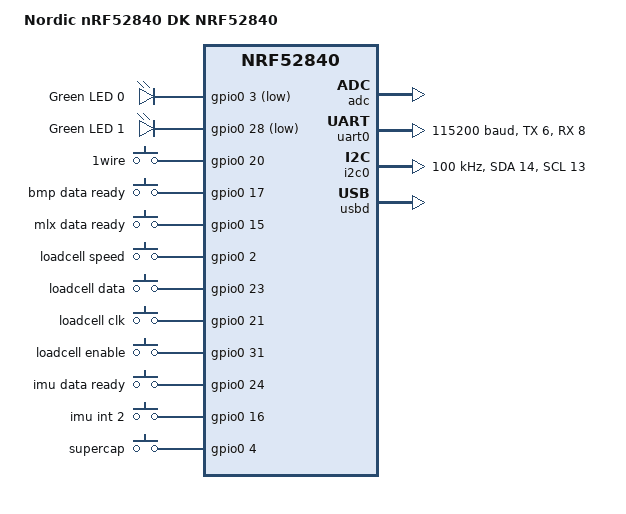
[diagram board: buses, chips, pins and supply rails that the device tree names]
/*
 * Copyright (c) 2017 Linaro Limited
 *
 * SPDX-License-Identifier: Apache-2.0
 */

 /dts-v1/;
 #include <nordic/nrf52840_qiaa.dtsi>
 
 / {
	 model = "Nordic nRF52840 DK NRF52840";
	 compatible = "nordic,nrf52840-dk-nrf52840";
 
	 chosen {
		 zephyr,console = &uart0;
		 zephyr,shell-uart = &uart0;
		 zephyr,uart-mcumgr = &uart0;
		 zephyr,bt-mon-uart = &uart0;
		 zephyr,bt-c2h-uart = &uart0;
		 zephyr,sram = &sram0;
		 zephyr,flash = &flash0;
		 zephyr,code-partition = &slot0_partition;
	 };
 
	 leds {
		 compatible = "gpio-leds";
		 led0: led_0 {
			 gpios = <&gpio0 3 GPIO_ACTIVE_LOW>;
			 label = "Green LED 0";
		 };
		 led1: led_1 {
			 gpios = <&gpio0 28 GPIO_ACTIVE_LOW>;
			 label = "Green LED 1";
		 };
	 };
 
 
	 buttons {
		 compatible = "gpio-keys";
		 button0: button_0 {	//20 1wire 
			 gpios = <&gpio0 20 (GPIO_ACTIVE_HIGH)>;
			 label = "1wire";
		 };
		 button1: button_1 { // 17 bmp
			 gpios = <&gpio0 17 (GPIO_ACTIVE_HIGH)>;
			 label = "bmp data ready";
		 };
		 button2: button_2 {
			 gpios = <&gpio0 15 (GPIO_ACTIVE_HIGH)>;
			 label = "mlx data ready";
		 };
		 button3: button_3 {
			 gpios = <&gpio0 2 (GPIO_ACTIVE_HIGH)>;
			 label = "loadcell speed";
		 };
		 button4: button_4 {
			 gpios = <&gpio0 23 (GPIO_ACTIVE_HIGH)>;
			 label = "loadcell data";
		 };
		 button5: button_5 {
			 gpios = <&gpio0 21 (GPIO_ACTIVE_HIGH)>;
			 label = "loadcell clk";
		 };
		 button6: button_6 {
			 gpios = <&gpio0 31 (GPIO_ACTIVE_HIGH)>;
			 label = "loadcell enable";
		 };
		 button7: button_7 {
			 gpios = <&gpio0 24 (GPIO_ACTIVE_HIGH)>;
			 label = "imu data ready";
		 };
		 button8: button_8 {
			 gpios = <&gpio0 16 (GPIO_ACTIVE_HIGH)>;
			 label = "imu int 2";
		 };
		 button9: button_9 {
			 gpios = <&gpio0 4 (GPIO_ACTIVE_HIGH)>;
			 label = "supercap";
		 };				
	 };
 
	 /* These aliases are provided for compatibility with samples */
	 /*
	 aliases {
		 led-blue = &led0;
		 led-red = &led1;
		 one-wire = &button0;
		 bmp-data-ready = &button1;
		 mlx-data-ready = &button2;
		 lc-speed = &button3;
		 lc-data = &button4;
		 lc-clk = &button5;
		 lc-enable = &button6;
		 imu-dr = &button7;
		 imu-int = &button8;
		 usbd0 = &usbd;
	 };
	 */
 };
 
 &adc {
	 status = "okay";
 };
 
 &gpiote {
	 status = "okay";
 };
 
 &gpio0 {
	 status = "okay";
 };
 
 &gpio1 {
	 status = "okay";
 };
 
 &uart0 {
	 compatible = "nordic,nrf-uarte";
	 status = "okay";
	 current-speed = <115200>;
	 tx-pin = <6>;
	 rx-pin = <8>;
	 rts-pin = <5>;
	 cts-pin = <7>;
 };
 
 myi2c: &i2c0 {
	 compatible = "nordic,nrf-twi";
	 status = "okay";
	 sda-pin = <14>;
	 scl-pin = <13>;
	 label="myi2c";
	 clock-frequency = <I2C_BITRATE_STANDARD>; 
 };
 
 &flash0 {
 
	 partitions {
		 compatible = "fixed-partitions";
		 #address-cells = <1>;
		 #size-cells = <1>;
 
		 boot_partition: partition@0 {
			 label = "mcuboot";
			 reg = <0x000000000 0xc000>;
		 };
		 slot0_partition: partition@c000 {
			 label = "image-0";
			 reg = <0x0000C000 0x32000>;
		 };
		 slot1_partition: partition@3e000 {
			 label = "image-1";
			 reg = <0x0003E000 0x32000>;
		 };
		 scratch_partition: partition@da000 {
			 label = "image-scratch";
			 reg = <0x000da000 0x0001e000>;
		 };
 
		 /*
		  * The flash starting at 0x000f8000 and ending at
		  * 0x000fffff is reserved for use by the application.
		  */
 
		 /*
		  * Storage partition will be used by FCB/LittleFS/NVS
		  * if enabled.
		  */
		 storage_partition: partition@f8000 {
			 label = "storage";
			 reg = <0x000f8000 0x00008000>;
		 };
	 };
 };
 
 &usbd {
	 compatible = "nordic,nrf-usbd";
	 status = "okay";
 };
 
